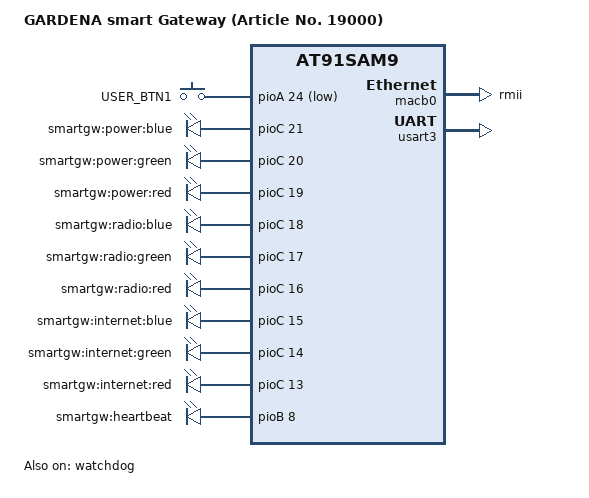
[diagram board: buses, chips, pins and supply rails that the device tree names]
// SPDX-License-Identifier: GPL-2.0+
/*
 * Device Tree file for the GARDENA smart Gateway (Article No. 19000)
 *
 *  Copyright (C) 2020 GARDENA GmbH
 */

/dts-v1/;

#include "at91sam9g25.dtsi"
#include "at91sam9x5ek.dtsi"
#include <dt-bindings/input/input.h>

/ {
	model = "GARDENA smart Gateway (Article No. 19000)";
	compatible = "gardena,smart-gateway-at91sam", "atmel,at91sam9g25", "atmel,at91sam9x5",
		"atmel,at91sam9";

	aliases {
		serial1 = &usart3;
	};

	gpio-keys {
		compatible = "gpio-keys";

		button {
			label = "USER_BTN1";
			gpios = <&pioA 24 GPIO_ACTIVE_LOW>;
			linux,code = <KEY_PROG1>;
		};
	};

	1wire_cm {
		status = "disabled";
	};

	leds {
		compatible = "gpio-leds";

		power_blue {
			label = "smartgw:power:blue";
			gpios = <&pioC 21 GPIO_ACTIVE_HIGH>;
			default-state = "off";
		};

		power_green {
			label = "smartgw:power:green";
			gpios = <&pioC 20 GPIO_ACTIVE_HIGH>;
			default-state = "on";
		};

		power_red {
			label = "smartgw:power:red";
			gpios = <&pioC 19 GPIO_ACTIVE_HIGH>;
			default-state = "off";
		};

		radio_blue {
			label = "smartgw:radio:blue";
			gpios = <&pioC 18 GPIO_ACTIVE_HIGH>;
			default-state = "off";
		};

		radio_green {
			label = "smartgw:radio:green";
			gpios = <&pioC 17 GPIO_ACTIVE_HIGH>;
			default-state = "off";
		};

		radio_red {
			label = "smartgw:radio:red";
			gpios = <&pioC 16 GPIO_ACTIVE_HIGH>;
			default-state = "off";
		};

		internet_blue {
			label = "smartgw:internet:blue";
			gpios = <&pioC 15 GPIO_ACTIVE_HIGH>;
			default-state = "off";
		};

		internet_green {
			label = "smartgw:internet:green";
			gpios = <&pioC 14 GPIO_ACTIVE_HIGH>;
			default-state = "off";
		};

		internet_red {
			label = "smartgw:internet:red";
			gpios = <&pioC 13 GPIO_ACTIVE_HIGH>;
			default-state = "off";
		};

		heartbeat {
			label = "smartgw:heartbeat";
			gpios = <&pioB 8 GPIO_ACTIVE_HIGH>;
			linux,default-trigger = "heartbeat";
		};

		pb18 {
			status = "disabled";
		};

		pd21 {
			status = "disabled";
		};
	};
};

&macb0 {
	phy-mode = "rmii";
	status = "okay";
};

&usart0 {
	status = "disabled";
};

&usart2 {
	status = "disabled";
};

&usart3 {
	atmel,use-dma-rx;
	atmel,use-dma-tx;
	status = "okay";

	pinctrl-0 = <&pinctrl_usart3
		     &pinctrl_usart3_rts
		     &pinctrl_usart3_cts
		    >;
};

&watchdog {
	status = "okay";
};

&mmc0 {
	status = "disabled";
};

&mmc1 {
	status = "disabled";
};

&spi0 {
	status = "disabled";
};

&i2c0 {
	status = "disabled";
};

&adc0 {
	status = "disabled";
};

&ssc0 {
	status = "disabled";
};
